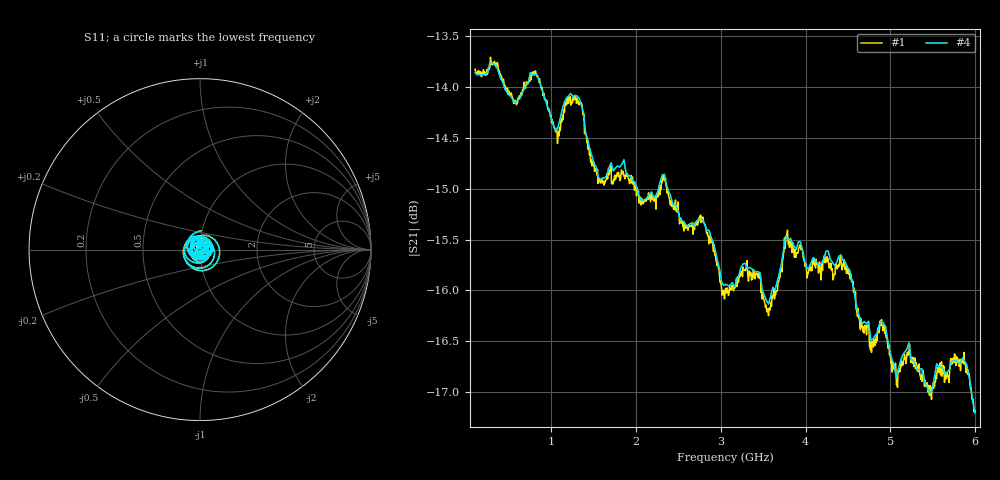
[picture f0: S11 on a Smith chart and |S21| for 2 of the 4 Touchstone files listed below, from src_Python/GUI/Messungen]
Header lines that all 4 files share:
!Created with skrf (http://scikit-rf.org).
# MHz S RI R 50.0
!freq ReS11 ImS11 ReS21 ImS21 ReS12 ImS12 ReS22 ImS22
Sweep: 100 MHz to 6 GHz
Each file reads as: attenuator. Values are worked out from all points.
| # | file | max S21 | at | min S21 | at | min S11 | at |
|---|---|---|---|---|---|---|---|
| 1 | Test1_8Term.S2P | -13.70 dB | 282.9 MHz | -17.2 dB | 5.988 GHz | -43.3 dB | 872.9 MHz |
| 2 | Test1_12Term.S2P | -13.70 dB | 282.9 MHz | -17.2 dB | 5.988 GHz | -43.3 dB | 872.9 MHz |
| 3 | Test1_uncorrected.S2P | -13.70 dB | 282.9 MHz | -17.2 dB | 5.988 GHz | -43.3 dB | 872.9 MHz |
| 4 | test_uncorrected.S2P | -13.76 dB | 275.7 MHz | -17.2 dB | 6 GHz | -43.3 dB | 878.3 MHz |
